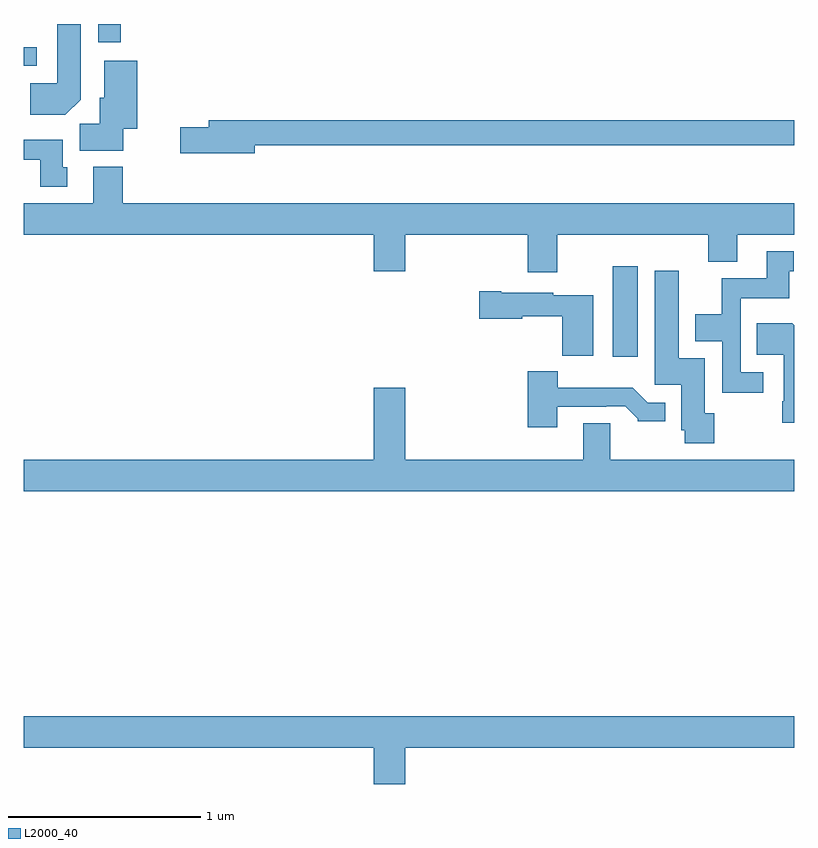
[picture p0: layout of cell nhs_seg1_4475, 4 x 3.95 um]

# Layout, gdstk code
import gdstk
lib = gdstk.Library(unit=1e-6, precision=1e-09)
def R(c, l, rs):  # rectangles x0, y0, x1, y1
    for r in rs: c.add(gdstk.rectangle(r[:2], r[2:], *l))
def P(c, l, *ps):  # polygons
    for p in ps: c.add(gdstk.Polygon(p, *l))
L2000_40 = (2000, 40)

nhs_seg1_4475 = lib.new_cell('nhs_seg1_4475')
R(nhs_seg1_4475, L2000_40, [(358.058,512.472,358.189,512.941), (355,513.981,355.066,514.077), (355.386,514.104,355.502,514.199)])
P(nhs_seg1_4475, L2000_40, [(355.294,513.806),(355.294,514.198),(355.172,514.198),(355.172,513.892),(355.033,513.892),(355.033,513.728),(355.216,513.728)],
  [(355.516,513.656),(355.589,513.656),(355.589,514.009),(355.418,514.009),(355.418,513.816),(355.394,513.816),(355.394,513.68),(355.289,513.68),(355.289,513.542),(355.516,513.542)],
  [(356.2,513.57),(359,513.57),(359,513.698),(355.961,513.698),(355.961,513.662),(355.812,513.662),(355.812,513.527),(356.2,513.527)],
  [(355.225,513.456),(355.201,513.456),(355.201,513.598),(355,513.598),(355,513.494),(355.085,513.494),(355.085,513.354),(355.225,513.354)],
  [(357.769,513.104),(358.553,513.104),(358.553,512.963),(358.705,512.963),(358.705,513.104),(359,513.104),(359,513.268),(355.514,513.268),(355.514,513.457),(355.361,513.457),(355.361,513.268),(355,513.268),(355,513.104),(356.816,513.104),(356.816,512.916),(356.98,512.916),(356.98,513.104),(357.617,513.104),(357.617,512.91),(357.769,512.91)],
  [(358.84,512.391),(358.722,512.391),(358.722,512.774),(358.975,512.774),(358.975,512.916),(358.999,512.916),(358.999,513.019),(358.859,513.019),(358.859,512.878),(358.624,512.878),(358.624,512.692),(358.487,512.692),(358.487,512.552),(358.626,512.552),(358.626,512.283),(358.84,512.283)],
  [(358.584,512.178),(358.537,512.178),(358.537,512.464),(358.402,512.464),(358.402,512.917),(358.277,512.917),(358.277,512.325),(358.415,512.325),(358.415,512.088),(358.432,512.088),(358.432,512.022),(358.584,512.022)],
  [(357.958,512.791),(357.75,512.791),(357.75,512.803),(357.478,512.803),(357.478,512.811),(357.366,512.811),(357.366,512.669),(357.588,512.669),(357.588,512.681),(357.796,512.681),(357.796,512.477),(357.958,512.477)],
  [(359,512.634),(358.99,512.644),(358.807,512.644),(358.807,512.48),(358.946,512.48),(358.946,512.239),(358.939,512.239),(358.939,512.127),(359,512.127)],
  [(357.769,512.211),(358.025,512.211),(358.025,512.214),(358.124,512.214),(358.188,512.15),(358.188,512.135),(358.33,512.135),(358.33,512.232),(358.239,512.232),(358.161,512.311),(357.772,512.311),(357.772,512.395),(357.617,512.395),(357.617,512.106),(357.769,512.106)],
  [(359,511.936),(358.045,511.936),(358.045,512.126),(357.905,512.126),(357.905,511.936),(356.98,511.936),(356.98,512.311),(356.816,512.311),(356.816,511.936),(355,511.936),(355,511.772),(359,511.772)],
  [(356.98,510.44),(359,510.44),(359,510.604),(355,510.604),(355,510.44),(356.816,510.44),(356.816,510.252),(356.98,510.252)])

lib.write_gds('nhs_seg1_4475.gds')
